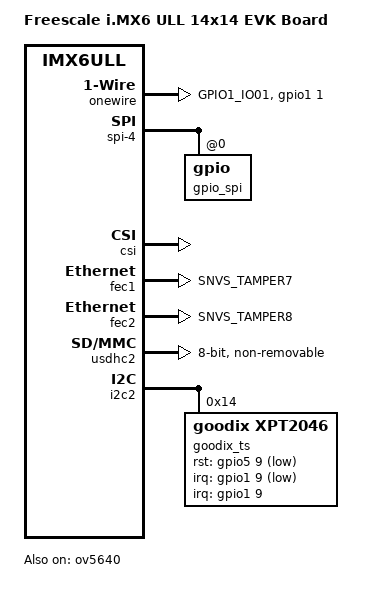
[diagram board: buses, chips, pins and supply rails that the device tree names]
// SPDX-License-Identifier: (GPL-2.0 OR MIT)
//
// Copyright (C) 2016 Freescale Semiconductor, Inc.

/dts-v1/;

#include "imx6ull.dtsi"
#include "imx6ul-14x14-evk.dtsi"

/ {
	model = "Freescale i.MX6 ULL 14x14 EVK Board";
	compatible = "fsl,imx6ull-14x14-evk-emmc", "fsl,imx6ull";

    chosen {
        bootargs = "console=ttymxc0,115200 root=/dev/mmcblk1p2 rootwait rw";
    };
};

&clks {
	assigned-clocks = <&clks IMX6UL_CLK_PLL3_PFD2>,
			          <&clks IMX6UL_CLK_PLL4_AUDIO_DIV>;
	assigned-clock-rates = <320000000>, <786432000>;
};

&csi {
	status = "okay";
};

&ov5640 {
	status = "okay";
};

/delete-node/ &sim2;

/ {
    onewire {
        compatible = "w1-gpio";
        gpios = <&gpio1 1 GPIO_ACTIVE_HIGH>;
        pinctrl-names = "default";
        pinctrl-0 = <&pinctrl_onewire>;
        linux,open-drain;
        status = "okay";
    };

    spi-4 {
        /delete-property/ cs-gpios;
        gpio_spi: gpio@0 {
            /delete-property/ enable-gpios;
        };
    };

    reg_sd1_vmmc: regulator-sd1-vmmc {
        /delete-property/ off-on-delay-us;
        /delete-property/ gpio;
    };
};

&fec1 {
    pinctrl-0 = <&pinctrl_enet1
    &pinctrl_fec1_reset>;
};

&fec2 {
    pinctrl-0 = <&pinctrl_enet2
    &pinctrl_fec2_reset>;
};

&usdhc2 {
    pinctrl-names = "default", "state_100mhz", "state_200mhz";
    pinctrl-0 = <&pinctrl_usdhc2_8bit>;
    pinctrl-1 = <&pinctrl_usdhc2_8bit_100mhz>;
    pinctrl-2 = <&pinctrl_usdhc2_8bit_200mhz>;
    bus-width = <8>;
    non-removable;
    status = "okay";
};

&lcdif {
    display0: display@0 {
        bits-per-pixel = <16>;
        bus-width = <24>;

        display-timings {
            native-mode = <&timing0>;
            timing0: timing0 {
                clock-frequency = <33000000>;
                hactive = <800>;
                vactive = <480>;
                hfront-porch = <40>;
                hback-porch = <88>;
                hsync-len = <48>;
                vback-porch = <32>;
                vfront-porch = <13>;
                vsync-len = <3>;
                hsync-active = <0>;
                vsync-active = <0>;
                de-active = <1>;
                pixelclk-active = <0>;
            };
        };
    };
};

&i2c2 {
    goodix_ts@14 {
        compatible = "goodix,xpt2046";
        reg = <0x14>;
        status = "okay";
        interrupt-parent = <&gpio1>;
        interrupts = <9 IRQ_TYPE_NONE>;
        pinctrl-0 = <&pinctrl_tsc_int
        &pinctrl_tsc_reset>;
        goodix,rst-gpio = <&gpio5 9  GPIO_ACTIVE_LOW>;
        goodix,irq-gpio = <&gpio1 9  GPIO_ACTIVE_LOW>;
    };
};

&iomuxc {
    pinctrl-names = "default";

    pinctrl_onewire: onewire {
        fsl,pins = <MX6UL_PAD_GPIO1_IO01__GPIO1_IO01    0x17059>;
    };

    pinctrl_tsc_int: ts_int_pin_mux {
        fsl,pins = <MX6UL_PAD_GPIO1_IO09__GPIO1_IO09    0x79>;
    };

    pinctrl_lcdif_dat: lcdifdatgrp {
        fsl,pins = <
        MX6UL_PAD_LCD_DATA00__LCDIF_DATA00  0x49
        MX6UL_PAD_LCD_DATA01__LCDIF_DATA01  0x49
        MX6UL_PAD_LCD_DATA02__LCDIF_DATA02  0x49
        MX6UL_PAD_LCD_DATA03__LCDIF_DATA03  0x49
        MX6UL_PAD_LCD_DATA04__LCDIF_DATA04  0x49
        MX6UL_PAD_LCD_DATA05__LCDIF_DATA05  0x49
        MX6UL_PAD_LCD_DATA06__LCDIF_DATA06  0x49
        MX6UL_PAD_LCD_DATA07__LCDIF_DATA07  0x51
        MX6UL_PAD_LCD_DATA08__LCDIF_DATA08  0x49
        MX6UL_PAD_LCD_DATA09__LCDIF_DATA09  0x49
        MX6UL_PAD_LCD_DATA10__LCDIF_DATA10  0x49
        MX6UL_PAD_LCD_DATA11__LCDIF_DATA11  0x49
        MX6UL_PAD_LCD_DATA12__LCDIF_DATA12  0x49
        MX6UL_PAD_LCD_DATA13__LCDIF_DATA13  0x49
        MX6UL_PAD_LCD_DATA14__LCDIF_DATA14  0x49
        MX6UL_PAD_LCD_DATA15__LCDIF_DATA15  0x51
        MX6UL_PAD_LCD_DATA16__LCDIF_DATA16  0x49
        MX6UL_PAD_LCD_DATA17__LCDIF_DATA17  0x49
        MX6UL_PAD_LCD_DATA18__LCDIF_DATA18  0x49
        MX6UL_PAD_LCD_DATA19__LCDIF_DATA19  0x49
        MX6UL_PAD_LCD_DATA20__LCDIF_DATA20  0x49
        MX6UL_PAD_LCD_DATA21__LCDIF_DATA21  0x49
        MX6UL_PAD_LCD_DATA22__LCDIF_DATA22  0x49
        MX6UL_PAD_LCD_DATA23__LCDIF_DATA23  0x51
        >;
    };
};

&iomuxc_snvs {
    pinctrl-names = "default_snvs";
    pinctrl_fec1_reset: fec1_resetgrp {
        fsl,pins = <MX6ULL_PAD_SNVS_TAMPER7__GPIO5_IO07    0x79>;
    };

    pinctrl_fec2_reset: fec2_resetgrp {
        fsl,pins = <MX6ULL_PAD_SNVS_TAMPER8__GPIO5_IO08    0x79>;
    };

    pinctrl_tsc_reset: ts_reset_pin_mux {
        fsl,pins = <MX6ULL_PAD_SNVS_TAMPER9__GPIO5_IO09    0x49>;
    };
};

/delete-node/ &tsc;
